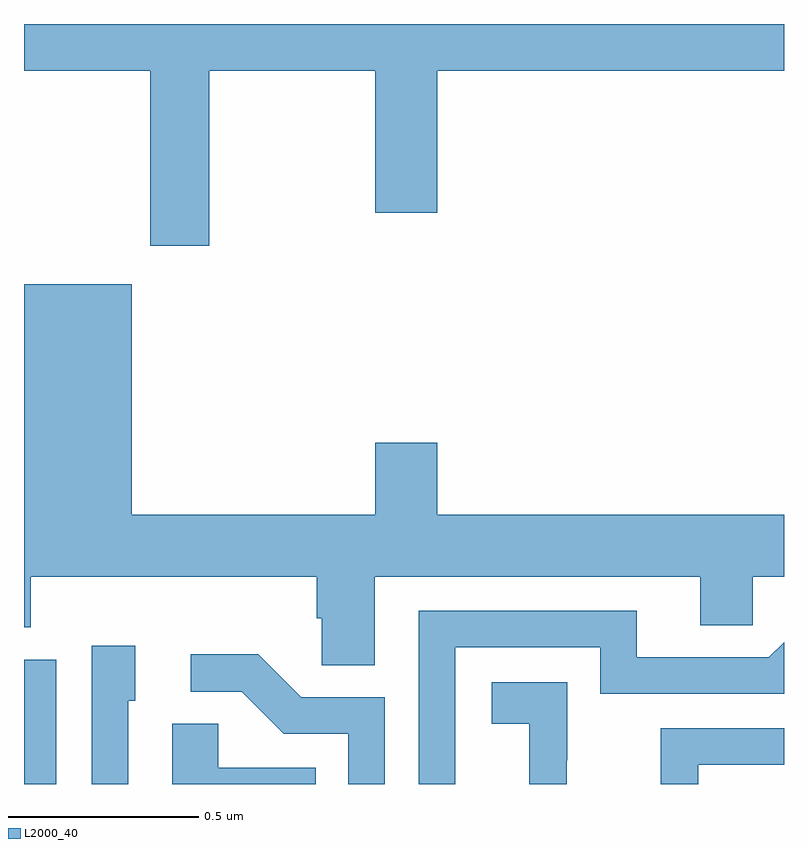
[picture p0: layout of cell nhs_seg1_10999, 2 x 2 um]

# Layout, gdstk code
import gdstk
lib = gdstk.Library(unit=1e-6, precision=1e-09)
def R(c, l, rs):  # rectangles x0, y0, x1, y1
    for r in rs: c.add(gdstk.rectangle(r[:2], r[2:], *l))
def P(c, l, *ps):  # polygons
    for p in ps: c.add(gdstk.Polygon(p, *l))
L2000_40 = (2000, 40)

nhs_seg1_10999 = lib.new_cell('nhs_seg1_10999')
R(nhs_seg1_10999, L2000_40, [(248,539.199,248.085,539.526)])
P(nhs_seg1_10999, L2000_40, [(248,541.076),(248.332,541.076),(248.332,540.615),(248.487,540.615),(248.487,541.076),(248.924,541.076),(248.924,540.702),(249.088,540.702),(249.088,541.076),(250,541.076),(250,541.199),(248,541.199)],
  [(248.923,539.744),(249.779,539.744),(249.779,539.617),(249.918,539.617),(249.918,539.744),(250,539.744),(250,539.908),(249.088,539.908),(249.088,540.097),(248.924,540.097),(248.924,539.908),(248.284,539.908),(248.284,540.514),(248,540.514),(248,539.611),(248.018,539.611),(248.018,539.744),(248.771,539.744),(248.771,539.635),(248.784,539.635),(248.784,539.512),(248.923,539.512)],
  [(249.135,539.559),(249.516,539.559),(249.516,539.436),(250,539.436),(250,539.572),(249.96,539.532),(249.613,539.532),(249.613,539.655),(249.039,539.655),(249.039,539.199),(249.135,539.199)],
  [(248.274,539.418),(248.293,539.418),(248.293,539.563),(248.178,539.563),(248.178,539.199),(248.274,539.199)],
  [(248.949,539.427),(248.73,539.427),(248.617,539.54),(248.439,539.54),(248.439,539.442),(248.573,539.442),(248.684,539.331),(248.853,539.331),(248.853,539.199),(248.949,539.199)],
  [(249.428,539.261),(249.429,539.261),(249.429,539.467),(249.231,539.467),(249.231,539.357),(249.329,539.357),(249.329,539.199),(249.428,539.199)],
  [(248.768,539.242),(248.511,539.242),(248.511,539.357),(248.39,539.357),(248.39,539.199),(248.768,539.199)],
  [(249.774,539.25),(250,539.25),(250,539.346),(249.676,539.346),(249.676,539.199),(249.774,539.199)])

lib.write_gds('nhs_seg1_10999.gds')
